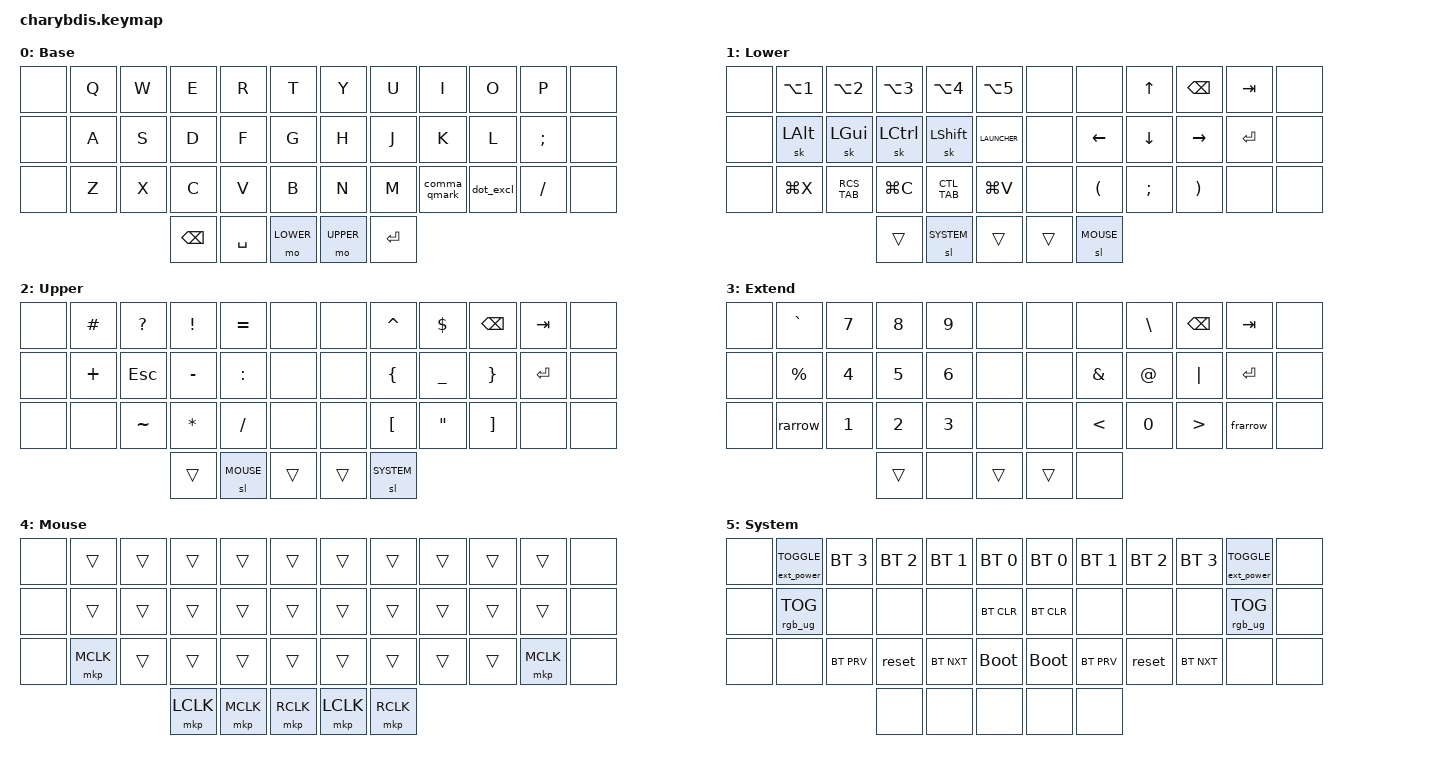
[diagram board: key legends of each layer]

/*
 * Copyright (c) 2023 Charly Delay <0xcharly>
 *
 * SPDX-License-Identifier: MIT
 */

#include <behaviors.dtsi>
#include <dt-bindings/zmk/bt.h>
#include <dt-bindings/zmk/ext_power.h>
#include <dt-bindings/zmk/keys.h>
#include <dt-bindings/zmk/rgb.h>
#include <dt-bindings/zmk/mouse.h>
#include <dt-bindings/zmk/outputs.h>

#define BASE 0
#define LOWER 1
#define UPPER 2
#define EXTEND 3
#define MOUSE 4
#define SYSTEM 5

// Custom keycodes.
#define LAUNCHER (LG(SPACE))
#define CTL_TAB (LC(TAB))
#define RCS_TAB (LC(LS(TAB)))

#define EXTPOW_TOG &ext_power EXT_POWER_TOGGLE_CMD
#define RGB_UG_TOG &rgb_ug RGB_TOG

&lt {
    tapping-term-ms = <240>;
    flavor = "balanced";
    quick-tap-ms = <150>;
};

// Adjust sticky-keys configuration.
&sk {
  release-after-ms = <1500>;
  quick-release;
};

// Adjust Caps Word configuration.
&caps_word {
  continue-list = <UNDERSCORE MINUS BACKSPACE MINUS>;
};

/ {
  // Conditional layers configuration, specifically tri-layer.
  conditional_layers {
    compatible = "zmk,conditional-layers";

    // Tri-layer LOWER + UPPER = EXTEND.
    num_tri_layer {
      if-layers = <LOWER UPPER>;
      then-layer = <EXTEND>;
    };
  };

  // Macros configuration, specifically character sequences.
  macros {
    // Cancel sticky mods.
    cancel: cancel_queued_sticky_mods {
      label = "Cancel sticky mods";
      compatible = "zmk,behavior-macro";
      #binding-cells = <0>;
      bindings = <&macro_tap &kp K_CANCEL>, <&macro_pause_for_release>;
    };

    // Right arrow macro: ->
    rarrow: right_arrow {
      label = "Right Arrow";
      compatible = "zmk,behavior-macro";
      #binding-cells = <0>;
      bindings = <&macro_tap &kp MINUS &kp GT>;
    };

    // Fat right arrow macro: =>
    frarrow: fat_right_arrow {
      label = "Fat Right Arrow";
      compatible = "zmk,behavior-macro";
      #binding-cells = <0>;
      bindings = <&macro_tap &kp EQUAL &kp GT>;
    };
  };

  /**
   * Combos configuration: only on base layer.
   *
   * Combo key positions:
   *
   *    0  1  2  3  4    5  6  7  8  9
   *   10 11 12 13 14    15 16 17 18 19
   *   20 21 22 23 24    25 26 27 28 29
   *       		30 31    32 33
   */
  combos {
    compatible = "zmk,combos";

    // Failsafe reset on a tri-key combos, on both sides, on all layers.
    combo_sys_reset_lhs {
      timeout-ms = <50>;
      key-positions = <30 31>;
      bindings = <&reset>;
    };
    combo_sys_reset_rhs {
      timeout-ms = <50>;
      key-positions = <32 33>;
      bindings = <&reset>;
    };

    // Cancel sticky mods failsafe.
    combo_cancel {
      timeout-ms = <50>;
      key-positions = <0 9>;
      bindings = <&cancel>;
      layers = <BASE>;
    };

    // Caps Word on a 2-key combo.
    combo_caps_word {
      timeout-ms = <50>;
      key-positions = <2 7>;
      bindings = <&caps_word>;
      layers = <BASE>;
    };
  };

  /**
   * Custom shifted keycode for access to convenience symbols from the base layer.
   *
   * Particularly useful for Gmail keyboard shortcuts.
   */
  behaviors {
    // Single quote -> Pound sign.
    sqt_hash: single_quote_pound {
      compatible = "zmk,behavior-mod-morph";
      label = "SINGLE_QUOTE_POUND";
      #binding-cells = <0>;
      bindings = <&kp SINGLE_QUOTE>, <&kp POUND>;
      mods = <(MOD_LSFT|MOD_RSFT)>;
    };
  
    // Comma -> Question mark.
    comma_qmark: comma_question {
      compatible = "zmk,behavior-mod-morph";
      label = "COMMA_QUESTION";
      #binding-cells = <0>;
      bindings = <&kp COMMA>, <&kp QUESTION>;
      mods = <(MOD_LSFT|MOD_RSFT)>;
    };
  
    // Period -> Exclamation mark.
    dot_excl: period_exclamation {
      compatible = "zmk,behavior-mod-morph";
      label = "PERIOD_EXCLAMATION";
      #binding-cells = <0>;
      bindings = <&kp PERIOD>, <&kp EXCLAMATION>;
      mods = <(MOD_LSFT|MOD_RSFT)>;
    };
  };

  /**
   * 36-key keymap, using a Dvorak base layer.
   *
   *   - Enter, tab and backspace on all right-hand non-base layers.
   *   - Shift, Control and Gui sticky mods on hold-tap with layers on thumb keys.
   *   - Navigation layer:
   *     - Direct access desktop shortcuts.
   *     - Home-row sticky mods.
   *     - Convenience shortcuts (cut/copy/paste, ctrl+tab, ctrl+shift+tab)
   *     - Inverted T arrow cluster.
   *   - Lower/upper/extend tri-layer:
   *     - 2 symbols layers to reduce pinky usage, and favor symbol synergies in most frequently used languages.
   *     - Numbers tri-layer with left-side numpad.
   *   - System layer for hardware controls:
   *     - Bluetooth channels.
   *     - Reset/bootloader.
   */
  keymap {
    compatible = "zmk,keymap";

    Base {
      label = "Base";
      bindings = <
        &none &kp Q    &kp W    &kp E      &kp R      &kp T            &kp Y      &kp U      &kp I          &kp O      &kp P    &none
        &none &kp A    &kp S    &kp D      &kp F      &kp G            &kp H      &kp J      &kp K          &kp L      &kp SEMI &none
        &none &kp Z    &kp X    &kp C      &kp V      &kp B            &kp N      &kp M      &comma_qmark   &dot_excl  &kp FSLH &none
                                &kp BSPC   &kp SPACE  &mo LOWER        &mo UPPER  &kp ENTER
      >;

      trackball-bindings = <&tmv_coarse>;
    };

    /** Traditional Dvorak layout.
     *   dvorak {
     *     bindings = <
     *  ╭──────────────────────────────────────────────────────────────────╮ ╭──────────────────────────────────────────────────────────────────╮ 
     *      &sqt_hash    &comma_qmark &dot_excl    &kp P        &kp Y            &kp F        &kp G        &kp C        &kp R        &kp L
     *      &kp A        &kp O        &kp E        &kp U        &kp I            &kp D        &kp H        &kp T        &kp N        &kp S
     *      &kp LSHIFT   &kp Q        &kp J        &kp K        &kp X            &kp B        &kp M        &kp W        &kp V        &kp Z
     * ╰──────────────────────────────────────────────────────────────────┤ ├──────────────────────────────────────────────────────────────────╯
     *                                &mo LOWER    &kp SPACE    &kp LCTRL        &kp RCTRL    &sk LSHIFT   &mo UPPER
     *                           ╰────────────────────────────────────────╯ ╰────────────────────────────────────────╯                          
     *     >;
     *   };
     */

    /**
     * Lower layer. Left thumb down.
     *
     * Navigation and symbols.
     *
     *   - Primary hand (left):
     *     - Home-row sticky mods.
     *     - Direct access desktop shortcuts.
     *   - Secondary hand (right):
     *     - Inverted T arrow cluster.
     *     - Parenthesis brackets.
     *     - Semi-colon for synergy with parenthesis and alt mod.
     */
    Lower {
      label = "Lower";
      bindings = <
  /* ╭──────────────────────────────────────────────────────────────────╮ ╭──────────────────────────────────────────────────────────────────╮ */
       &none &kp LA(N1)   &kp LA(N2)   &kp LA(N3)   &kp LA(N4)   &kp LA(N5)       &none        &none        &kp UP       &kp BSPC     &kp TAB   &none
       &none &sk LALT     &sk LGUI     &sk LCTRL    &sk LSHIFT   &kp LAUNCHER     &none        &kp LEFT     &kp DOWN     &kp RIGHT    &kp ENTER &none
       &none &kp LG(X)    &kp RCS_TAB  &kp LG(C)    &kp CTL_TAB  &kp LG(V)        &none        &kp LPAR     &kp SEMI     &kp RPAR     &none     &none
  /* ╰──────────────────────────────────────────────────────────────────┤ ├──────────────────────────────────────────────────────────────────╯ */
                                 &trans       &sl SYSTEM   &trans /*↓*/     &trans       &sl MOUSE    
  /*                           ╰────────────────────────────────────────╯ ╰────────────────────────────────────────╯                           */
      >;

      trackball-bindings = <&tmv_fine>;
    };

    /**
     * Upper layer. Right thumb down.
     *
     * Symbols.
     *
     *   - Primary hand (right):
     *     - Underscore for symmetry with dash on other half.
     *     - Caret and dollar for Vi-motions.
     *     - Square and curly brackets.
     *     - Double quotes for modal editors registry.
     *   - Secondary hand (left):
     *     - Most common operators.
     *     - Hash and exclamation mark for Gmail shortcuts, and with synergy with right-side curly brackets.
     *     - Tilde and forward-slash synergy for paths. 
     *     - Modal editors escape+colon roll for command mode.
     */
    Upper {
      label = "Upper";
      bindings = <
  /* ╭──────────────────────────────────────────────────────────────────╮ ╭──────────────────────────────────────────────────────────────────╮ */
       &none &kp HASH     &kp QMARK    &kp EXCL     &kp EQUAL    &none            &none        &kp CARET    &kp DOLLAR   &kp BSPC     &kp TAB   &none
       &none &kp PLUS     &kp ESCAPE   &kp MINUS    &kp COLON    &none            &none        &kp LBRC     &kp UNDER    &kp RBRC     &kp ENTER &none
       &none &none        &kp TILDE    &kp ASTERISK &kp SLASH    &none            &none        &kp LBKT     &kp DQT      &kp RBKT     &none     &none
  /* ╰──────────────────────────────────────────────────────────────────┤ ├──────────────────────────────────────────────────────────────────╯ */
                                 &trans       &sl MOUSE    &trans           &trans /*↓*/ &sl SYSTEM 
  /*                           ╰────────────────────────────────────────╯ ╰────────────────────────────────────────╯                           */
      >;

      trackball-bindings = <&tsl_fine>;
    };

    /**
     * Extend layer. Classic tri-layer activated from both lower and upper layers.
     *
     * Numbers and symbols.
     *
     * - Left-side numpad, with right-side 0.
     * - Right-side symbols, angle brackets.
     */
    Extend {
      label = "Extend";
      bindings = <
  /* ╭──────────────────────────────────────────────────────────────────╮ ╭──────────────────────────────────────────────────────────────────╮ */
       &none &kp GRAVE    &kp N7       &kp N8       &kp N9       &none            &none        &none        &kp BSLH     &kp BSPC     &kp TAB   &none
       &none &kp PERCENT  &kp N4       &kp N5       &kp N6       &none            &none        &kp AMPS     &kp AT       &kp PIPE     &kp ENTER &none
       &none &rarrow      &kp N1       &kp N2       &kp N3       &none            &none        &kp LT       &kp N0       &kp GT       &frarrow  &none
  /* ╰──────────────────────────────────────────────────────────────────┤ ├──────────────────────────────────────────────────────────────────╯ */
                                 &trans       &none        &trans /*↓*/     &trans /*↓*/ &none 
  /*                           ╰────────────────────────────────────────╯ ╰────────────────────────────────────────╯                           */
      >;

      trackball-bindings = <&tmv_fine>;
    };

    Mouse {
      label = "Mouse";
      bindings = <
        &none &trans     &trans   &trans     &trans     &trans         &trans     &trans  &trans  &trans  &trans    &none
        &none &trans     &trans   &trans     &trans     &trans         &trans     &trans  &trans  &trans  &trans    &none
        &none &mkp MCLK  &trans   &trans     &trans     &trans         &trans     &trans  &trans  &trans  &mkp MCLK &none
                            &mkp LCLK  &mkp MCLK  &mkp RCLK      &mkp LCLK  &mkp RCLK
      >;

      trackball-bindings = <&tmv_fine>;
    };

   /**
    * System layer for hardware controls. Available as a sticky-layer with a hard-to-mistap thumb hold.
    *
    *   - Bluetooth channels.
    *   - Reset/bootloader.
    */
    System {
      label = "System";
      bindings = <
  /* ╭──────────────────────────────────────────────────────────────────╮ ╭──────────────────────────────────────────────────────────────────╮ */
       &none EXTPOW_TOG   &bt BT_SEL 3 &bt BT_SEL 2 &bt BT_SEL 1 &bt BT_SEL 0     &bt BT_SEL 0 &bt BT_SEL 1 &bt BT_SEL 2 &bt BT_SEL 3 EXTPOW_TOG &none
       &none RGB_UG_TOG   &none        &none        &none        &bt BT_CLR       &bt BT_CLR   &none        &none        &none        RGB_UG_TOG &none
       &none &none        &bt BT_PRV   &reset       &bt BT_NXT   &bootloader      &bootloader  &bt BT_PRV   &reset       &bt BT_NXT   &none      &none
  /* ╰──────────────────────────────────────────────────────────────────┤ ├──────────────────────────────────────────────────────────────────╯ */
                                 &none        &none        &none            &none        &none      
  /*                           ╰────────────────────────────────────────╯ ╰────────────────────────────────────────╯                           */
      >;

      trackball-bindings = <&tmv_fine>;
    };
  };
};
